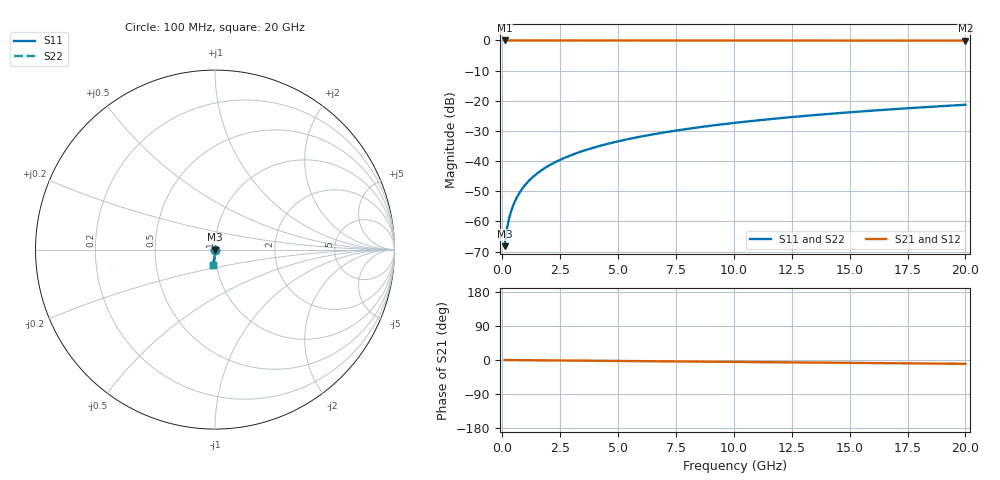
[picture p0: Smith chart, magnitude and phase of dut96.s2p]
! Touchstone file exported from HFSS 2026.1.0
!  File:  C:/ffzhzh/LocalFiles/Ansys_Project_Files/temp_train_TSV_96_1782959802_45748.aedt
!  Generated:  10:37:59 AM Jul  2, 2026
!  Design:  TSV
!  Project:  temp_train_TSV_96_1782959802_45748
! Variables:
!  h_bsmrdl = 2um
!  h_ox = 20um
!  h_rdl = 5um
!  h_sub = 94.08um
!  h_tmrdl = 5um
!  h_tsv = 94.08um
!  h_via = 3um
!  l_bsmrdl = 300um
!  l_sub = 426.32um
!  l_tmrdl = 200um
!  m_sub = 200um
!  pitch = 34.89um
!  r_tsv = 13.16um
!  s_tmrdl = 10um
!  w_bsmrdl = 18um
!  w_sub = 500um
!  w_tmrdl = 12um
!  x_tsv_center1 = 206um
!  x_tsv_center2 = 524um
!  x_tsv_center3 = 736um
!  x_tsv_center4 = 1054um
!  x_tsv_center5 = 1266um
!  x_tsv_center6 = 1584um
# GHz S MA R 50.000000
! Terminal data exported
! Port[1] = TSV1_1_T1
! Port[2] = TSV1_1_T2
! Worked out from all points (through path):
!   200 points, 100 MHz to 20 GHz, reference 50 ohm
!   highest |S21| = 0.00 dB at 100 MHz (marker M1); lowest = 0.0 dB at 20 GHz (marker M2)
!   group delay of S21, straight-line fit = 1.39 ps
!   lowest |S11| = -68.2 dB at 100 MHz (marker M3), VSWR 1.00, Z = 50 - j0.0373 ohm
!   |S11| at or under -10 dB: start of sweep to end of sweep
!   |S22| runs from -68.2 to -21.3 dB; largest |S21 - S12| = 2.2e-15
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0.1  0.0003879 -74.0  0.9999 -0.1  0.9999 -0.1  0.0003879 -74.0
! Gamma 0 0 0 0
! Port Impedance 50 0 50 0
0.2  0.0007622 -80.5  0.9999 -0.1  0.9999 -0.1  0.0007622 -80.5
0.3  0.00115 -82.3  0.9998 -0.2  0.9998 -0.2  0.00115 -82.3
0.4  0.00155 -83.2  0.9998 -0.2  0.9998 -0.2  0.00155 -83.2
0.5  0.001959 -83.7  0.9998 -0.3  0.9998 -0.3  0.001959 -83.7
0.7  0.002797 -84.5  0.9997 -0.4  0.9997 -0.4  0.002797 -84.5
0.8  0.003221 -84.9  0.9997 -0.4  0.9997 -0.4  0.003221 -84.9
1  0.004076 -85.6  0.9996 -0.5  0.9996 -0.5  0.004076 -85.6
1.2  0.004933 -86.2  0.9996 -0.6  0.9996 -0.6  0.004933 -86.2
1.4  0.005791 -86.7  0.9996 -0.7  0.9996 -0.7  0.005791 -86.7
1.7  0.007077 -87.3  0.9995 -0.9  0.9995 -0.9  0.007077 -87.3
2  0.008362 -87.8  0.9995 -1.0  0.9995 -1.0  0.008362 -87.8
2.7  0.01136 -88.7  0.9994 -1.4  0.9994 -1.4  0.01136 -88.7
3.5  0.01479 -89.4  0.9993 -1.8  0.9993 -1.8  0.01479 -89.4
4.2  0.0178 -90.0  0.9992 -2.1  0.9992 -2.1  0.0178 -90.0
5  0.02125 -90.6  0.9991 -2.5  0.9991 -2.5  0.02125 -90.6
6.8  0.02902 -91.8  0.9987 -3.4  0.9987 -3.4  0.02902 -91.8
8.3  0.0355 -92.7  0.9984 -4.2  0.9984 -4.2  0.0355 -92.7
10.1  0.04328 -93.7  0.998 -5.1  0.998 -5.1  0.04328 -93.7
13.4  0.05752 -95.6  0.9971 -6.7  0.9971 -6.7  0.05752 -95.6
16.7  0.07171 -97.3  0.9961 -8.4  0.9961 -8.4  0.07171 -97.3
20  0.08583 -99.1  0.9948 -10.0  0.9948 -10.0  0.08583 -99.1
